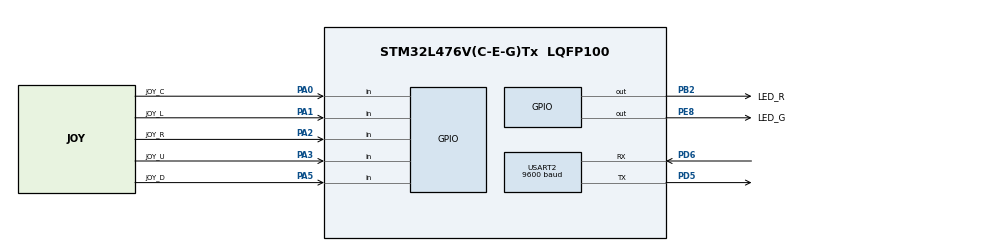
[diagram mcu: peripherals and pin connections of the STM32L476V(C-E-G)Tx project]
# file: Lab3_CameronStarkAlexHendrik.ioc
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Mcu.Family=STM32L4
Mcu.Name=STM32L476V(C-E-G)Tx
Mcu.Package=LQFP100
NVIC.PriorityGroup=NVIC_PRIORITYGROUP_4
PA0.GPIO_Label=JOY_C
PA0.GPIO_PuPd=GPIO_PULLDOWN
PA0.Signal=GPIO_Input
PA1.GPIO_Label=JOY_L
PA1.GPIO_PuPd=GPIO_PULLDOWN
PA1.Signal=GPIO_Input
PA2.GPIO_Label=JOY_R
PA2.GPIO_PuPd=GPIO_PULLDOWN
PA2.Signal=GPIO_Input
PA3.GPIO_Label=JOY_U
PA3.GPIO_PuPd=GPIO_PULLDOWN
PA3.Signal=GPIO_Input
PA5.GPIO_Label=JOY_D
PA5.GPIO_PuPd=GPIO_PULLDOWN
PA5.Signal=GPIO_Input
PB2.GPIO_Label=LED_R
PB2.PinState=GPIO_PIN_SET
PB2.Signal=GPIO_Output
PD5.Mode=Asynchronous
PD5.Signal=USART2_TX
PD6.Mode=Asynchronous
PD6.Signal=USART2_RX
PE8.GPIO_Label=LED_G
PE8.PinState=GPIO_PIN_SET
PE8.Signal=GPIO_Output
ProjectManager.HeapSize=0x200
ProjectManager.StackSize=0x400
ProjectManager.TargetToolchain=MDK-ARM V5
RCC.HSE_VALUE=8000000
RCC.HSI_VALUE=16000000
RCC.LSE_VALUE=32768
RCC.MSI_VALUE=4000000
RCC.VCOOutputFreq_Value=32000000
USART2.BaudRate=9600
USART2.VirtualMode-Asynchronous=VM_ASYNC
board=custom

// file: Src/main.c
/* USER CODE BEGIN Header */
/**
  ******************************************************************************
  * @file           : main.c
  * @brief          : Main program body
  ******************************************************************************
  ** This notice applies to any and all portions of this file
  * that are not between comment pairs USER CODE BEGIN and
  * USER CODE END. Other portions of this file, whether
  * inserted by the user or by software development tools
  * are owned by their respective copyright owners.
  *
  * COPYRIGHT(c) 2019 STMicroelectronics
  *
  * Redistribution and use in source and binary forms, with or without modification,
  * are permitted provided that the following conditions are met:
  *   1. Redistributions of source code must retain the above copyright notice,
  *      this list of conditions and the following disclaimer.
  *   2. Redistributions in binary form must reproduce the above copyright notice,
  *      this list of conditions and the following disclaimer in the documentation
  *      and/or other materials provided with the distribution.
  *   3. Neither the name of STMicroelectronics nor the names of its contributors
  *      may be used to endorse or promote products derived from this software
  *      without specific prior written permission.
  *
  * THIS SOFTWARE IS PROVIDED BY THE COPYRIGHT HOLDERS AND CONTRIBUTORS "AS IS"
  * AND ANY EXPRESS OR IMPLIED WARRANTIES, INCLUDING, BUT NOT LIMITED TO, THE
  * IMPLIED WARRANTIES OF MERCHANTABILITY AND FITNESS FOR A PARTICULAR PURPOSE ARE
  * DISCLAIMED. IN NO EVENT SHALL THE COPYRIGHT HOLDER OR CONTRIBUTORS BE LIABLE
  * FOR ANY DIRECT, INDIRECT, INCIDENTAL, SPECIAL, EXEMPLARY, OR CONSEQUENTIAL
  * DAMAGES (INCLUDING, BUT NOT LIMITED TO, PROCUREMENT OF SUBSTITUTE GOODS OR
  * SERVICES; LOSS OF USE, DATA, OR PROFITS; OR BUSINESS INTERRUPTION) HOWEVER
  * CAUSED AND ON ANY THEORY OF LIABILITY, WHETHER IN CONTRACT, STRICT LIABILITY,
  * OR TORT (INCLUDING NEGLIGENCE OR OTHERWISE) ARISING IN ANY WAY OUT OF THE USE
  * OF THIS SOFTWARE, EVEN IF ADVISED OF THE POSSIBILITY OF SUCH DAMAGE.
  *
  ******************************************************************************
  */
/* USER CODE END Header */

#include "main.h"
#include <stdio.h>
#include <stdlib.h>
#include <string.h>

UART_HandleTypeDef huart2;

void SystemClock_Config(void);
static void MX_GPIO_Init(void);
static void MX_USART2_UART_Init(void);

/* USER CODE BEGIN PFP */
#ifdef __GNUC__
#define PUTCHAR_PROTOTYPE int __io_putchar(int ch)
#else
#define PUTCHAR_PROTOTYPE int fputc(int ch, FILE *f)
#endif /* __GNUC__ */
/* USER CODE END PFP */

int main(void)
{
  /* USER CODE BEGIN 1 */
	char baseText[] = "key is just pressed by Cameron Stark and Oleksandr Hendrik";
  /* USER CODE END 1 */

  /* MCU Configuration--------------------------------------------------------*/

  /* Reset of all peripherals, Initializes the Flash interface and the Systick. */
  HAL_Init();

  /* Configure the system clock */
  SystemClock_Config();

  /* Initialize all configured peripherals */
  MX_GPIO_Init();
  MX_USART2_UART_Init();

  /* Infinite loop */
  while (1)
  {

    /* USER CODE BEGIN 3 */

		if ((GPIOA -> IDR & JOY_L_Pin) == JOY_L_Pin) {
			printf("Left %s\r\n", baseText);

			GPIOB -> ODR |= LED_R_Pin;
			GPIOE -> ODR &= ~LED_G_Pin;
			HAL_Delay(2000);

		} else if ((GPIOA -> IDR & JOY_R_Pin) == JOY_R_Pin) {
			printf("Right %s\r\n", baseText);

			GPIOB -> ODR &= ~LED_R_Pin;
			GPIOE -> ODR |= LED_G_Pin;
			HAL_Delay(2000);

		} else if ((GPIOA -> IDR & JOY_U_Pin) == JOY_U_Pin) {
			printf("Up %s\r\n", baseText);

			GPIOB -> ODR |= LED_R_Pin;
			GPIOE -> ODR |= LED_G_Pin;
			HAL_Delay(2000);
		} else if ((GPIOA -> IDR & JOY_D_Pin) == JOY_D_Pin) {
			printf("Down %s\r\n", baseText);

			GPIOB -> ODR &= ~LED_R_Pin;
			GPIOE -> ODR &= ~LED_G_Pin;
			HAL_Delay(2000);
		} else if ((GPIOA -> IDR & JOY_C_Pin) == JOY_C_Pin) {
			printf("Center %s\r\n", baseText);

			GPIOB -> ODR |= LED_R_Pin;
			GPIOE -> ODR |= LED_G_Pin;
			for(int i = 0; i < 10; i++) {
				HAL_Delay(200);
				GPIOB -> ODR ^= LED_R_Pin;
				GPIOE -> ODR ^= LED_G_Pin;
			}

		} else { //NONE
			GPIOB -> ODR |= LED_R_Pin;
			GPIOE -> ODR &= ~LED_G_Pin;

			HAL_Delay(100);
			GPIOB -> ODR ^= LED_R_Pin;
			GPIOE -> ODR ^= LED_G_Pin;
			HAL_Delay(100);

		}
  }
  /* USER CODE END 3 */
}

void SystemClock_Config(void)
{
  RCC_OscInitTypeDef RCC_OscInitStruct = {0};
  RCC_ClkInitTypeDef RCC_ClkInitStruct = {0};
  RCC_PeriphCLKInitTypeDef PeriphClkInit = {0};

  /**Initializes the CPU, AHB and APB busses clocks
  */
  RCC_OscInitStruct.OscillatorType = RCC_OSCILLATORTYPE_MSI;
  RCC_OscInitStruct.MSIState = RCC_MSI_ON;
  RCC_OscInitStruct.MSICalibrationValue = 0;
  RCC_OscInitStruct.MSIClockRange = RCC_MSIRANGE_6;
  RCC_OscInitStruct.PLL.PLLState = RCC_PLL_NONE;
  if (HAL_RCC_OscConfig(&RCC_OscInitStruct) != HAL_OK)
  {
    Error_Handler();
  }
  /**Initializes the CPU, AHB and APB busses clocks
  */
  RCC_ClkInitStruct.ClockType = RCC_CLOCKTYPE_HCLK|RCC_CLOCKTYPE_SYSCLK
                              |RCC_CLOCKTYPE_PCLK1|RCC_CLOCKTYPE_PCLK2;
  RCC_ClkInitStruct.SYSCLKSource = RCC_SYSCLKSOURCE_MSI;
  RCC_ClkInitStruct.AHBCLKDivider = RCC_SYSCLK_DIV1;
  RCC_ClkInitStruct.APB1CLKDivider = RCC_HCLK_DIV1;
  RCC_ClkInitStruct.APB2CLKDivider = RCC_HCLK_DIV1;

  if (HAL_RCC_ClockConfig(&RCC_ClkInitStruct, FLASH_LATENCY_0) != HAL_OK)
  {
    Error_Handler();
  }
  PeriphClkInit.PeriphClockSelection = RCC_PERIPHCLK_USART2;
  PeriphClkInit.Usart2ClockSelection = RCC_USART2CLKSOURCE_PCLK1;
  if (HAL_RCCEx_PeriphCLKConfig(&PeriphClkInit) != HAL_OK)
  {
    Error_Handler();
  }
  /**Configure the main internal regulator output voltage
  */
  if (HAL_PWREx_ControlVoltageScaling(PWR_REGULATOR_VOLTAGE_SCALE1) != HAL_OK)
  {
    Error_Handler();
  }
}

static void MX_USART2_UART_Init(void)
{

  huart2.Instance = USART2;
  huart2.Init.BaudRate = 9600;
  huart2.Init.WordLength = UART_WORDLENGTH_8B;
  huart2.Init.StopBits = UART_STOPBITS_1;
  huart2.Init.Parity = UART_PARITY_NONE;
  huart2.Init.Mode = UART_MODE_TX_RX;
  huart2.Init.HwFlowCtl = UART_HWCONTROL_NONE;
  huart2.Init.OverSampling = UART_OVERSAMPLING_16;
  huart2.Init.OneBitSampling = UART_ONE_BIT_SAMPLE_DISABLE;
  huart2.AdvancedInit.AdvFeatureInit = UART_ADVFEATURE_NO_INIT;
  if (HAL_UART_Init(&huart2) != HAL_OK)
  {
    Error_Handler();
  }

}

static void MX_GPIO_Init(void)
{
  GPIO_InitTypeDef GPIO_InitStruct = {0};

  /* GPIO Ports Clock Enable */
  __HAL_RCC_GPIOA_CLK_ENABLE();
  __HAL_RCC_GPIOB_CLK_ENABLE();
  __HAL_RCC_GPIOE_CLK_ENABLE();
  __HAL_RCC_GPIOD_CLK_ENABLE();

  /*Configure GPIO pin Output Level */
  HAL_GPIO_WritePin(LED_R_GPIO_Port, LED_R_Pin, GPIO_PIN_SET);

  /*Configure GPIO pin Output Level */
  HAL_GPIO_WritePin(LED_G_GPIO_Port, LED_G_Pin, GPIO_PIN_SET);

  /*Configure GPIO pins : JOY_C_Pin JOY_L_Pin JOY_R_Pin JOY_U_Pin
                           JOY_D_Pin */
  GPIO_InitStruct.Pin = JOY_C_Pin|JOY_L_Pin|JOY_R_Pin|JOY_U_Pin
                          |JOY_D_Pin;
  GPIO_InitStruct.Mode = GPIO_MODE_INPUT;
  GPIO_InitStruct.Pull = GPIO_PULLDOWN;
  HAL_GPIO_Init(GPIOA, &GPIO_InitStruct);

  /*Configure GPIO pin : LED_R_Pin */
  GPIO_InitStruct.Pin = LED_R_Pin;
  GPIO_InitStruct.Mode = GPIO_MODE_OUTPUT_PP;
  GPIO_InitStruct.Pull = GPIO_NOPULL;
  GPIO_InitStruct.Speed = GPIO_SPEED_FREQ_LOW;
  HAL_GPIO_Init(LED_R_GPIO_Port, &GPIO_InitStruct);

  /*Configure GPIO pin : LED_G_Pin */
  GPIO_InitStruct.Pin = LED_G_Pin;
  GPIO_InitStruct.Mode = GPIO_MODE_OUTPUT_PP;
  GPIO_InitStruct.Pull = GPIO_NOPULL;
  GPIO_InitStruct.Speed = GPIO_SPEED_FREQ_LOW;
  HAL_GPIO_Init(LED_G_GPIO_Port, &GPIO_InitStruct);

}

/* USER CODE BEGIN 4 */
PUTCHAR_PROTOTYPE {
	HAL_UART_Transmit(&huart2, (uint8_t *)&ch, 1, 0xFFFF);
	return ch;
}
/* USER CODE END 4 */

void Error_Handler(void)
{
}

/************************ (C) COPYRIGHT STMicroelectronics *****END OF FILE****/
